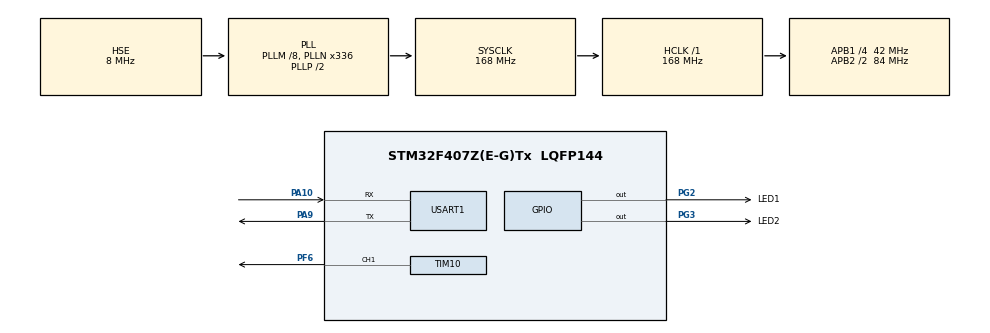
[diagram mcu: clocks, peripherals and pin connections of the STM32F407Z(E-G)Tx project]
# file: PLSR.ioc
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Dma.Request0=USART1_RX
Dma.Request1=USART1_TX
Dma.USART1_RX.0.Direction=DMA_PERIPH_TO_MEMORY
Dma.USART1_RX.0.FIFOMode=DMA_FIFOMODE_DISABLE
Dma.USART1_RX.0.Instance=DMA2_Stream2
Dma.USART1_RX.0.MemDataAlignment=DMA_MDATAALIGN_BYTE
Dma.USART1_RX.0.MemInc=DMA_MINC_ENABLE
Dma.USART1_RX.0.Mode=DMA_NORMAL
Dma.USART1_RX.0.PeriphDataAlignment=DMA_PDATAALIGN_BYTE
Dma.USART1_RX.0.PeriphInc=DMA_PINC_DISABLE
Dma.USART1_RX.0.Priority=DMA_PRIORITY_LOW
Dma.USART1_TX.1.Direction=DMA_MEMORY_TO_PERIPH
Dma.USART1_TX.1.FIFOMode=DMA_FIFOMODE_DISABLE
Dma.USART1_TX.1.Instance=DMA2_Stream7
Dma.USART1_TX.1.MemDataAlignment=DMA_MDATAALIGN_BYTE
Dma.USART1_TX.1.MemInc=DMA_MINC_ENABLE
Dma.USART1_TX.1.Mode=DMA_NORMAL
Dma.USART1_TX.1.PeriphDataAlignment=DMA_PDATAALIGN_BYTE
Dma.USART1_TX.1.PeriphInc=DMA_PINC_DISABLE
Dma.USART1_TX.1.Priority=DMA_PRIORITY_LOW
Mcu.Family=STM32F4
Mcu.Name=STM32F407Z(E-G)Tx
Mcu.Package=LQFP144
NVIC.DMA2_Stream2_IRQn=true\:0\:0\:false\:false\:true\:false\:true\:true
NVIC.DMA2_Stream7_IRQn=true\:0\:0\:false\:false\:true\:false\:true\:true
NVIC.PriorityGroup=NVIC_PRIORITYGROUP_4
NVIC.TIM1_BRK_TIM9_IRQn=true\:4\:0\:true\:false\:true\:true\:true\:true
NVIC.USART1_IRQn=true\:1\:0\:true\:false\:true\:true\:true\:true
PA10.Mode=Asynchronous
PA10.Signal=USART1_RX
PA13.Mode=Serial_Wire
PA13.Signal=SYS_JTMS-SWDIO
PA14.Mode=Serial_Wire
PA14.Signal=SYS_JTCK-SWCLK
PA9.Mode=Asynchronous
PA9.Signal=USART1_TX
PF6.Signal=S_TIM10_CH1
PG2.GPIO_Label=LED1
PG2.PinState=GPIO_PIN_SET
PG2.Signal=GPIO_Output
PG3.GPIO_Label=LED2
PG3.PinState=GPIO_PIN_SET
PG3.Signal=GPIO_Output
PH0-OSC_IN.Mode=HSE-External-Oscillator
PH0-OSC_IN.Signal=RCC_OSC_IN
PH1-OSC_OUT.Mode=HSE-External-Oscillator
PH1-OSC_OUT.Signal=RCC_OSC_OUT
ProjectManager.HeapSize=0x200
ProjectManager.StackSize=0x400
ProjectManager.TargetToolchain=EWARM V8
RCC.48MHZClocksFreq_Value=84000000
RCC.AHBFreq_Value=168000000
RCC.APB1CLKDivider=RCC_HCLK_DIV4
RCC.APB1Freq_Value=42000000
RCC.APB1TimFreq_Value=84000000
RCC.APB2CLKDivider=RCC_HCLK_DIV2
RCC.APB2Freq_Value=84000000
RCC.APB2TimFreq_Value=168000000
RCC.CortexFreq_Value=168000000
RCC.HCLKFreq_Value=168000000
RCC.HSE_VALUE=8000000
RCC.HSI_VALUE=16000000
RCC.LSE_VALUE=32768
RCC.PLLM=8
RCC.PLLN=336
RCC.PLLSourceVirtual=RCC_PLLSOURCE_HSE
RCC.SYSCLKFreq_VALUE=168000000
RCC.SYSCLKSource=RCC_SYSCLKSOURCE_PLLCLK
RCC.VCOOutputFreq_Value=336000000
SH.S_TIM10_CH1.0=TIM10_CH1,PWM Generation1 CH1
TIM10.AutoReloadPreload=TIM_AUTORELOAD_PRELOAD_ENABLE
TIM10.Channel=TIM_CHANNEL_1
TIM10.Period=100-1
TIM10.Prescaler=168-1
TIM10.Pulse=50
TIM9.Period=1000
USART1.VirtualMode=VM_ASYNC
VP_TIM10_VS_ClockSourceINT.Mode=Enable_Timer
VP_TIM9_VS_ClockSourceITR.Mode=TriggerSource_ITR2
VP_TIM9_VS_ControllerModeClock.Mode=Clock Mode
board=custom

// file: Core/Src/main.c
/* USER CODE BEGIN Header */
/**
  ******************************************************************************
  * @file           : main.c
  * @brief          : Main program body
  ******************************************************************************
  * @attention
  *
  * Copyright (c) 2023 STMicroelectronics.
  * All rights reserved.
  *
  * This software is licensed under terms that can be found in the LICENSE file
  * in the root directory of this software component.
  * If no LICENSE file comes with this software, it is provided AS-IS.
  *
  ******************************************************************************
  */
/* USER CODE END Header */
#include "main.h"
#include "tim.h"
#include "usart.h"
#include "gpio.h"

/* USER CODE BEGIN PD */
//START 任务
//设置任务优先��?
#define START_TASK_PRIO (10)  //��?始的任务优先级设置为��?��?
//设置任务堆栈大小
#define START_STK_SIZE (256)
//任务堆栈
OS_STK START_TASK_STK[START_STK_SIZE];
//任务函数
void start_task(void *pdata);

//LED1 任务
//设置任务优先��?
#define LED1_TASK_PRIO (9)
//设置任务堆栈大小
#define LED1_STK_SIZE (256)
//任务堆栈
OS_STK LED1_TASK_STK[LED1_STK_SIZE];
//任务函数
void led1_task(void *pdata);

//LED2 任务
//设置任务优先��?
#define LED2_TASK_PRIO (8)
//设置任务堆栈大小
#define LED2_STK_SIZE (256)
//任务堆栈
OS_STK LED2_TASK_STK[LED2_STK_SIZE];
//任务函数
void led2_task(void *pdata);

//脉冲任务
//设置任务优先��?
#define PULSE_TASK_PRIO (7)
//设置任务堆栈大小
#define PULSE_STK_SIZE (256)
//任务堆栈
OS_STK PULSE_TASK_STK[PULSE_STK_SIZE];
//任务函数
void pulse_task(void *pdata);

/* USER CODE END PD */

void SystemClock_Config(void);

int main(void)
{

  /* MCU Configuration--------------------------------------------------------*/

  /* Reset of all peripherals, Initializes the Flash interface and the Systick. */
  HAL_Init();

  /* Configure the system clock */
  SystemClock_Config();

  /* Initialize all configured peripherals */
  MX_GPIO_Init();
  MX_USART1_UART_Init();
  MX_TIM9_Init();
  MX_TIM10_Init();
  /* USER CODE BEGIN 2 */
  OSInit();
  OSTaskCreate(start_task,(void *)0,(OS_STK *)&START_TASK_STK[START_STK_SIZE-1],START_TASK_PRIO );//创建起始任务
	OSTaskCreate(led1_task,(void *)0,(OS_STK *)&LED1_TASK_STK[LED1_STK_SIZE-1],LED1_TASK_PRIO );//创建LED1任务
  OSTaskCreate(led2_task,(void *)0,(OS_STK *)&LED2_TASK_STK[LED2_STK_SIZE-1],LED2_TASK_PRIO );//创建LED2任务
  OSTaskCreate(pulse_task,(void *)0,(OS_STK *)&PULSE_TASK_STK[PULSE_STK_SIZE-1],PULSE_TASK_PRIO );
  OSStart();
  /* USER CODE END 2 */

  /* Infinite loop */
  /* USER CODE BEGIN WHILE */
  //while (1)
  //{
    /* USER CODE END WHILE */

    /* USER CODE BEGIN 3 */
  //}
  /* USER CODE END 3 */
}

void SystemClock_Config(void)
{
  RCC_OscInitTypeDef RCC_OscInitStruct = {0};
  RCC_ClkInitTypeDef RCC_ClkInitStruct = {0};

  /** Configure the main internal regulator output voltage
  */
  __HAL_RCC_PWR_CLK_ENABLE();
  __HAL_PWR_VOLTAGESCALING_CONFIG(PWR_REGULATOR_VOLTAGE_SCALE1);

  /** Initializes the RCC Oscillators according to the specified parameters
  * in the RCC_OscInitTypeDef structure.
  */
  RCC_OscInitStruct.OscillatorType = RCC_OSCILLATORTYPE_HSE;
  RCC_OscInitStruct.HSEState = RCC_HSE_ON;
  RCC_OscInitStruct.PLL.PLLState = RCC_PLL_ON;
  RCC_OscInitStruct.PLL.PLLSource = RCC_PLLSOURCE_HSE;
  RCC_OscInitStruct.PLL.PLLM = 8;
  RCC_OscInitStruct.PLL.PLLN = 336;
  RCC_OscInitStruct.PLL.PLLP = RCC_PLLP_DIV2;
  RCC_OscInitStruct.PLL.PLLQ = 4;
  if (HAL_RCC_OscConfig(&RCC_OscInitStruct) != HAL_OK)
  {
    Error_Handler();
  }

  /** Initializes the CPU, AHB and APB buses clocks
  */
  RCC_ClkInitStruct.ClockType = RCC_CLOCKTYPE_HCLK|RCC_CLOCKTYPE_SYSCLK
                              |RCC_CLOCKTYPE_PCLK1|RCC_CLOCKTYPE_PCLK2;
  RCC_ClkInitStruct.SYSCLKSource = RCC_SYSCLKSOURCE_PLLCLK;
  RCC_ClkInitStruct.AHBCLKDivider = RCC_SYSCLK_DIV1;
  RCC_ClkInitStruct.APB1CLKDivider = RCC_HCLK_DIV4;
  RCC_ClkInitStruct.APB2CLKDivider = RCC_HCLK_DIV2;

  if (HAL_RCC_ClockConfig(&RCC_ClkInitStruct, FLASH_LATENCY_5) != HAL_OK)
  {
    Error_Handler();
  }
}

/* USER CODE BEGIN 4 */
//��?始任��?
void start_task(void *pdata)
{
  OS_CPU_SR cpu_sr=0;
	pdata = pdata;
  OS_ENTER_CRITICAL();			//进入临界段，无法被中断打��?
 	OSTaskCreate(led1_task,(void *)0,(OS_STK*)&LED1_TASK_STK[LED1_STK_SIZE-1],LED1_TASK_PRIO);
 	OSTaskCreate(led2_task,(void *)0,(OS_STK*)&LED2_TASK_STK[LED2_STK_SIZE-1],LED2_TASK_PRIO);
  OSTaskCreate(pulse_task,(void*)0,(OS_STK*)&PULSE_TASK_STK[PULSE_STK_SIZE-1],PULSE_TASK_PRIO);
	OSTaskSuspend(START_TASK_PRIO);	//挂起起始任务��?
	OS_EXIT_CRITICAL();				//��?出临界段，可以被中断打断
}

//LED1任务
void led1_task(void *pdata)
{
	while(1)
	{
    HAL_GPIO_WritePin(GPIOG, LED1_Pin, GPIO_PIN_RESET);
    OSTimeDly(500);
    HAL_GPIO_WritePin(GPIOG, LED1_Pin, GPIO_PIN_SET);
    OSTimeDly(500);
	};
}

//LED2任务
void led2_task(void *pdata)
{
	while(1)
	{
    HAL_GPIO_WritePin(GPIOG, LED2_Pin, GPIO_PIN_RESET);
    OSTimeDly(500);
    HAL_GPIO_WritePin(GPIOG, LED2_Pin, GPIO_PIN_SET);
    OSTimeDly(500);

	};
}
//脉冲任务

void pulse_task(void *pdata)
{
  while(1)
  {
      Generate_PWM(500);
      OSTimeDly(1000);
  }
}

/* USER CODE END 4 */

void Error_Handler(void)
{
  __disable_irq();
  while (1)
  {
  }
}
